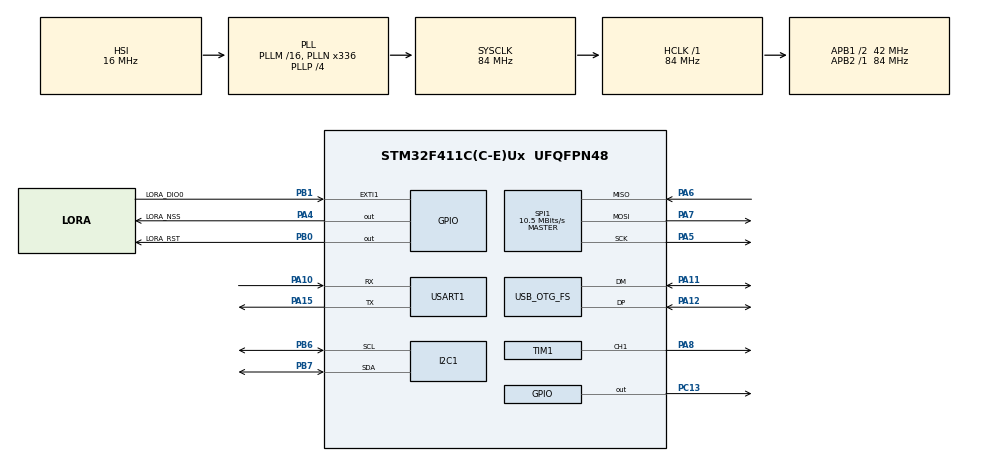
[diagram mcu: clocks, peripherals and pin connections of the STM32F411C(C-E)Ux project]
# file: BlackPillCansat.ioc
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Mcu.Family=STM32F4
Mcu.Name=STM32F411C(C-E)Ux
Mcu.Package=UFQFPN48
NVIC.OTG_FS_IRQn=true\:0\:0\:false\:false\:true\:false\:true\:true
NVIC.PriorityGroup=NVIC_PRIORITYGROUP_4
NVIC.SPI1_IRQn=true\:0\:0\:false\:false\:true\:true\:true\:true
NVIC.USART1_IRQn=true\:0\:0\:false\:false\:true\:true\:true\:true
PA10.Mode=Asynchronous
PA10.Signal=USART1_RX
PA11.Mode=Device_Only
PA11.Signal=USB_OTG_FS_DM
PA12.Mode=Device_Only
PA12.Signal=USB_OTG_FS_DP
PA13.Mode=Serial_Wire
PA13.Signal=SYS_JTMS-SWDIO
PA14.Mode=Serial_Wire
PA14.Signal=SYS_JTCK-SWCLK
PA15.Mode=Asynchronous
PA15.Signal=USART1_TX
PA4.GPIO_Label=LORA_NSS
PA4.Signal=GPIO_Output
PA5.Mode=Full_Duplex_Master
PA5.Signal=SPI1_SCK
PA6.Mode=Full_Duplex_Master
PA6.Signal=SPI1_MISO
PA7.Mode=Full_Duplex_Master
PA7.Signal=SPI1_MOSI
PA8.Signal=S_TIM1_CH1
PB0.GPIO_Label=LORA_RST
PB0.Signal=GPIO_Output
PB1.GPIO_Label=LORA_DIO0
PB1.Signal=GPXTI1
PB6.Mode=I2C
PB6.Signal=I2C1_SCL
PB7.Mode=I2C
PB7.Signal=I2C1_SDA
PC13-ANTI_TAMP.Signal=GPIO_Output
PC14-OSC32_IN.Mode=LSE-External-Oscillator
PC14-OSC32_IN.Signal=RCC_OSC32_IN
PC15-OSC32_OUT.Mode=LSE-External-Oscillator
PC15-OSC32_OUT.Signal=RCC_OSC32_OUT
PH0\ -\ OSC_IN.Mode=HSE-External-Oscillator
PH0\ -\ OSC_IN.Signal=RCC_OSC_IN
PH1\ -\ OSC_OUT.Mode=HSE-External-Oscillator
PH1\ -\ OSC_OUT.Signal=RCC_OSC_OUT
ProjectManager.HeapSize=0x200
ProjectManager.StackSize=0x400
ProjectManager.TargetToolchain=STM32CubeIDE
RCC.48MHZClocksFreq_Value=48000000
RCC.AHBFreq_Value=84000000
RCC.APB1CLKDivider=RCC_HCLK_DIV2
RCC.APB1Freq_Value=42000000
RCC.APB1TimFreq_Value=84000000
RCC.APB2Freq_Value=84000000
RCC.APB2TimFreq_Value=84000000
RCC.CortexFreq_Value=84000000
RCC.HCLKFreq_Value=84000000
RCC.HSE_VALUE=25000000
RCC.HSI_VALUE=16000000
RCC.PLLN=336
RCC.PLLP=RCC_PLLP_DIV4
RCC.PLLQ=7
RCC.PLLSource=RCC_PLLSOURCE_HSI
RCC.PLLSourceVirtualString=RCC_PLLSOURCE_HSI
RCC.SYSCLKFreq_VALUE=84000000
RCC.SYSCLKSource=RCC_SYSCLKSOURCE_PLLCLK
RCC.VCOOutputFreq_Value=336000000
SH.S_TIM1_CH1.0=TIM1_CH1,PWM Generation1 CH1
SPI1.BaudRatePrescaler=SPI_BAUDRATEPRESCALER_8
SPI1.CalculateBaudRate=10.5 MBits/s
SPI1.Direction=SPI_DIRECTION_2LINES
SPI1.Mode=SPI_MODE_MASTER
SPI1.VirtualType=VM_MASTER
TIM1.Channel-PWM\ Generation1\ CH1=TIM_CHANNEL_1
TIM1.Period=19999
TIM1.Prescaler=83
TIM1.Pulse-PWM\ Generation1\ CH1=1000
USART1.VirtualMode=VM_ASYNC
USB_DEVICE.CLASS_NAME_FS=CDC
USB_DEVICE.VirtualMode=Cdc
USB_DEVICE.VirtualModeFS=Cdc_FS
USB_OTG_FS.VirtualMode=Device_Only
VP_TIM1_VS_ClockSourceINT.Mode=Internal
VP_USB_DEVICE_VS_USB_DEVICE_CDC_FS.Mode=CDC_FS
board=custom

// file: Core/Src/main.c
/* USER CODE BEGIN Header */
/**
  ******************************************************************************
  * @file           : main.c
  * @brief          : Main program body
  ******************************************************************************
  * @attention
  *
  * Copyright (c) 2026 STMicroelectronics.
  * All rights reserved.
  *
  * This software is licensed under terms that can be found in the LICENSE file
  * in the root directory of this software component.
  * If no LICENSE file comes with this software, it is provided AS-IS.
  *
  ******************************************************************************
  */
/* USER CODE END Header */
#include "main.h"
#include "usb_device.h"

/* USER CODE BEGIN Includes */
#include "main.h"
#include "usb_device.h"
#include <string.h>
#include <stdint.h>
#define LORA_NSS_PORT GPIOA
#define LORA_NSS_PIN  GPIO_PIN_4

#define LORA_RST_PORT GPIOB
#define LORA_RST_PIN  GPIO_PIN_0

#define LORA_DIO0_PIN GPIO_PIN_1
#define MPU6050_ADD (0x68 << 1)
#define PWR_MGMT_1 0x6B
#define ACCL_START 0x3B
#define CALIB_SAMPLES 2000
#define SAMPLE_DELAY 5
#include "usbd_cdc_if.h"
#include "math.h"
extern uint8_t CDC_Transmit_FS(uint8_t* Buf, uint16_t Len);

#define MS5611_ADDR (0x76 << 1)  // REMOVE << 1 ! Standard MS5611 address
#define MS5611_RESET     0x1E
#define MS5611_ADC_READ  0x00
#define MS5611_CONV_D1   0x48   // Pressure conversion
#define MS5611_CONV_D2   0x58   // Temperature conversion
#define MS5611_PROM_READ 0xA2
#define LED_PORT GPIOC
#define LED_PIN  GPIO_PIN_13
/* USER CODE END Includes */

/* USER CODE BEGIN PTD */
float kalman_alt = 0;
float kalman_vel = 0;
uint8_t armed = 0;
uint8_t released = 0;
uint8_t servo_done = 0;
uint32_t drop_time = 0;

float P[2][2] = {{1,0},{0,1}};   // Error covariance
float Q[2][2] = {{0.15,0},{0,0.15}};
float R = 1.0; // Measurement noise (MS5611 noise)

float dt = 0.02; // 50 Hz loop
uint8_t raw_data[14];
int16_t Ax,Ay,Az;
int16_t Gx,Gy,Gz;
int32_t Ax_offset=0, Ay_offset=0, Az_offset=0;
int32_t Gx_offset=0, Gy_offset=0, Gz_offset=0;
float Ax_g, Ay_g, Az_g;
float Gx_dps, Gy_dps, Gz_dps;
uint16_t C[7];  // Calibration constants
uint32_t D1, D2;
float pressure = 0;
float temperature = 0;
float altitude = 0;
float pressure_baseline = 0;
uint8_t gps_data;
float altitude_offset = 0;
char gps_buffer[120];
int gps_index = 0;
int satellites = 0;
int gps_fix = 0;
float latitude = 0;
float longitude = 0;
uint16_t lora_packet = 0;
float gps_altitude = 0;

/* USER CODE END PV */
/* USER CODE END PTD */

I2C_HandleTypeDef hi2c1;

SPI_HandleTypeDef hspi1;

TIM_HandleTypeDef htim1;

UART_HandleTypeDef huart1;

void SystemClock_Config(void);
static void MX_GPIO_Init(void);
static void MX_I2C1_Init(void);
static void MX_USART1_UART_Init(void);
static void MX_SPI1_Init(void);
static void MX_TIM1_Init(void);
/* USER CODE BEGIN PFP */
/* USER CODE BEGIN PFP */
void usb_print(char *msg);  // forward declaration
/* USER CODE END PFP */

/* USER CODE BEGIN 0 */

extern SPI_HandleTypeDef hspi1;

void lora_select()
{
    HAL_GPIO_WritePin(LORA_NSS_PORT, LORA_NSS_PIN, GPIO_PIN_RESET);
    HAL_Delay(1);
}

void lora_unselect()
{
    HAL_GPIO_WritePin(LORA_NSS_PORT, LORA_NSS_PIN, GPIO_PIN_SET);
    HAL_Delay(1);
}

uint8_t lora_read(uint8_t reg)
{
    uint8_t tx[2];
    uint8_t rx[2];

    tx[0] = reg & 0x7F;
    tx[1] = 0x00;

    lora_select();
    HAL_SPI_TransmitReceive(&hspi1, tx, rx, 2, 100);
    lora_unselect();

    return rx[1];
}

void led_blink(int times, int delay_ms)
{
    for(int i = 0; i < times; i++)
    {
        HAL_GPIO_WritePin(LED_PORT, LED_PIN, GPIO_PIN_RESET); // ON
        HAL_Delay(delay_ms);

        HAL_GPIO_WritePin(LED_PORT, LED_PIN, GPIO_PIN_SET);   // OFF
        HAL_Delay(delay_ms);
    }
    HAL_Delay(500);
}

void error_blink(int code)
{
    while(1)
    {
        led_blink(code, 200);
        HAL_Delay(1000);
    }
}

void lora_write(uint8_t reg, uint8_t data)
{
    uint8_t buf[2];
    buf[0] = reg | 0x80;
    buf[1] = data;

    lora_select();
    HAL_SPI_Transmit(&hspi1, buf, 2, 100);
    lora_unselect();
}

void lora_reset()
{
    HAL_GPIO_WritePin(LORA_RST_PORT, LORA_RST_PIN, GPIO_PIN_RESET);
    HAL_Delay(10);
    HAL_GPIO_WritePin(LORA_RST_PORT, LORA_RST_PIN, GPIO_PIN_SET);
    HAL_Delay(10);
}

void servo_lock(void)
{
    __HAL_TIM_SET_COMPARE(&htim1, TIM_CHANNEL_1, 1500);   // locked position
}

void servo_open(void)
{
    __HAL_TIM_SET_COMPARE(&htim1, TIM_CHANNEL_1, 2000);   // open position
}

void lora_init()
{
    lora_reset();

    // LoRa sleep
    lora_write(0x01, 0x80);
    HAL_Delay(10);

    // LoRa standby
    lora_write(0x01, 0x81);
    HAL_Delay(10);

    // Frequency = 433.000 MHz
    lora_write(0x06, 0x6C);
    lora_write(0x07, 0x80);
    lora_write(0x08, 0x00);

    // PA config: max power
    lora_write(0x09, 0x8F);

    // LNA boost
    lora_write(0x0C, 0x23);

    // FIFO base addresses
    lora_write(0x0E, 0x00);   // TX base
    lora_write(0x0F, 0x00);   // RX base

    // Explicit header, BW=125kHz, CR=4/5
    lora_write(0x1D, 0x72);

    // SF7, CRC ON
    lora_write(0x1E, 0x74);

    // AGC auto on
    lora_write(0x26, 0x04);

    // Preamble length = 8
    lora_write(0x20, 0x00);
    lora_write(0x21, 0x08);

    // Sync word = 0x12 (must match receiver)
    lora_write(0x39, 0x34);

    // DIO0 = TxDone
    lora_write(0x40, 0x40);

    // Clear all IRQ flags
    lora_write(0x12, 0xFF);

    // Standby
    lora_write(0x01, 0x81);
    HAL_Delay(10);
}

void ms5611_init() {
    uint8_t cmd;

    // Reset
    cmd = MS5611_RESET;
    HAL_I2C_Master_Transmit(&hi2c1, MS5611_ADDR, &cmd, 1, 100);
    HAL_Delay(20);

    uint8_t buf[2];
    for (int i = 0; i < 6; i++) {
        cmd = MS5611_PROM_READ + 2*i;   // A2, A4, A6, A8, AA, AC
        HAL_I2C_Master_Transmit(&hi2c1, MS5611_ADDR, &cmd, 1, 100);
        HAL_I2C_Master_Receive(&hi2c1, MS5611_ADDR, buf, 2, 100);
        C[i+1] = (buf[0] << 8) | buf[1];

        char msg[30];
        sprintf(msg, "C%d=%u\r\n", i+1, C[i+1]);
        usb_print(msg);
    }
}

void kalman_update(float measured_alt, float accel_z)
{
    /* ===== Predict ===== */
    kalman_alt += kalman_vel * dt + 0.5f * accel_z * dt * dt;
    kalman_vel += accel_z * dt;

    P[0][0] += dt*(2*P[1][0] + dt*P[1][1]) + Q[0][0];
    P[0][1] += dt*P[1][1];
    P[1][0] += dt*P[1][1];
    P[1][1] += Q[1][1];

    /* ===== Update ===== */
    float y = measured_alt - kalman_alt;
    float S = P[0][0] + R;

    float K0 = P[0][0] / S;
    float K1 = P[1][0] / S;

    kalman_alt += K0 * y;
    kalman_vel += K1 * y;

    float P00 = P[0][0];
    float P01 = P[0][1];

    P[0][0] -= K0 * P00;
    P[0][1] -= K0 * P01;
    P[1][0] -= K1 * P00;
    P[1][1] -= K1 * P01;
}

void ms5611_read()
{
    uint8_t buf[3];
    uint8_t cmd;

    /* --- D1: Pressure --- */
    cmd = MS5611_CONV_D1;
    HAL_I2C_Master_Transmit(&hi2c1, MS5611_ADDR, &cmd, 1, 100);
    HAL_Delay(15);  // increased from 12 to 15ms to be safe

    cmd = MS5611_ADC_READ;
    HAL_I2C_Master_Transmit(&hi2c1, MS5611_ADDR, &cmd, 1, 100);
    memset(buf, 0, 3);
    HAL_I2C_Master_Receive(&hi2c1, MS5611_ADDR, buf, 3, 100);
    uint32_t new_D1 = ((uint32_t)buf[0] << 16) | ((uint32_t)buf[1] << 8) | buf[2];

    /* --- D2: Temperature --- */
    cmd = MS5611_CONV_D2;
    HAL_I2C_Master_Transmit(&hi2c1, MS5611_ADDR, &cmd, 1, 100);
    HAL_Delay(15);

    cmd = MS5611_ADC_READ;
    HAL_I2C_Master_Transmit(&hi2c1, MS5611_ADDR, &cmd, 1, 100);
    memset(buf, 0, 3);
    HAL_I2C_Master_Receive(&hi2c1, MS5611_ADDR, buf, 3, 100);
    uint32_t new_D2 = ((uint32_t)buf[0] << 16) | ((uint32_t)buf[1] << 8) | buf[2];

    /* Reject zero reads (ADC not ready) - keep last valid value */
    if(new_D1 == 0 || new_D2 == 0) return;

    D1 = new_D1;
    D2 = new_D2;

    /* MS5611 compensation */
    int64_t dT   = (int64_t)D2 - ((int64_t)C[5] << 8);
    int64_t TEMP = 2000LL + (dT * (int64_t)C[6]) / (1LL << 23);

    int64_t OFF  = ((int64_t)C[2] << 16) + ((int64_t)C[4] * dT) / (1LL << 7);
    int64_t SENS = ((int64_t)C[1] << 15) + ((int64_t)C[3] * dT) / (1LL << 8);

    /* Second order compensation */
    if(TEMP < 2000)
    {
        int64_t T2    = (dT * dT) / (1LL << 31);
        int64_t diff  = TEMP - 2000LL;
        int64_t OFF2  = 5LL * diff * diff / 2LL;
        int64_t SENS2 = 5LL * diff * diff / 4LL;
        if(TEMP < -1500)
        {
            int64_t diff2  = TEMP + 1500LL;
            OFF2  += 7LL * diff2 * diff2;
            SENS2 += 11LL * diff2 * diff2 / 2LL;
        }
        TEMP -= T2;
        OFF  -= OFF2;
        SENS -= SENS2;
    }

    int64_t P = ((int64_t)D1 * SENS / (1LL << 21) - OFF) / (1LL << 15);

    float new_temp = (float)TEMP / 100.0f;
    float new_pres = (float)P    / 100.0f;

    /* Sanity check before accepting */
    if(new_pres > 300.0f && new_pres < 1100.0f &&
       new_temp > -40.0f && new_temp < 85.0f)
    {
        temperature = new_temp;
        pressure    = new_pres;
    }
    /* else: silently discard, keep last valid reading */
}

void i2c_scan()
{
    char msg[50];

    for(uint8_t addr = 1; addr < 128; addr++)
    {
        if(HAL_I2C_IsDeviceReady(&hi2c1, addr << 1, 1, 10) == HAL_OK)
        {
            sprintf(msg, "I2C Device Found at 0x%X\r\n", addr);
            usb_print(msg);
        }
    }
}
float convert_deg(float raw)
{
    int deg = (int)(raw / 100);
    float min = raw - (deg * 100);
    return deg + (min / 60.0);
}

float get_altitude(float press)
{
    return 44330.0 * (1.0 - pow(press / pressure_baseline, 0.1903));
}

void parse_gps(char *data)
{
    if(strncmp(data, "$GPGGA", 6) != 0 && strncmp(data, "$GNGGA", 6) != 0)
        return;

    char local[128];
    strncpy(local, data, sizeof(local) - 1);
    local[sizeof(local) - 1] = '\0';

    char  *token;
    int    field   = 0;
    float  raw_lat = 0, raw_lon = 0;
    char   lat_dir = 'N', lon_dir = 'E';
    int    fix = 0, sats = 0;
    float  alt = 0;

    token = strtok(local, ",");
    while(token != NULL)
    {
        field++;
        switch(field)
        {
            case 3:  raw_lat = atof(token); break;
            case 4:  lat_dir = token[0];    break;
            case 5:  raw_lon = atof(token); break;
            case 6:  lon_dir = token[0];    break;
            case 7:  fix     = atoi(token); break;
            case 8:  sats    = atoi(token); break;
            case 10: alt     = atof(token); break;
        }
        token = strtok(NULL, ",");
    }

    satellites = sats;
    gps_fix    = fix;
    if(fix > 0)
    {
        gps_altitude = alt;
        latitude     = convert_deg(raw_lat);
        longitude    = convert_deg(raw_lon);
        if(lat_dir == 'S') latitude  = -latitude;
        if(lon_dir == 'W') longitude = -longitude;
    }
}

void wake_mpu(void){
    uint8_t wake = 0x00;
    HAL_I2C_Mem_Write(&hi2c1, MPU6050_ADD, PWR_MGMT_1, 1, &wake, 1, 100);
    HAL_Delay(50);
}

HAL_StatusTypeDef read_raw(void){
    return HAL_I2C_Mem_Read(&hi2c1, MPU6050_ADD, ACCL_START, 1, raw_data, 14, 100);
}

extern USBD_HandleTypeDef hUsbDeviceFS;

void usb_print(char *msg)
{
    if(hUsbDeviceFS.dev_state == USBD_STATE_CONFIGURED)
    {
        CDC_Transmit_FS((uint8_t*)msg, strlen(msg));
    }
}

void lora_debug_registers()
{
    char msg[80];

    uint8_t version = lora_read(0x42);
    sprintf(msg, "LoRa Version: 0x%02X\r\n", version);
    usb_print(msg);

    uint8_t opmode = lora_read(0x01);
    sprintf(msg, "OP Mode: 0x%02X\r\n", opmode);
    usb_print(msg);

    uint8_t frf_msb = lora_read(0x06);
    uint8_t frf_mid = lora_read(0x07);
    uint8_t frf_lsb = lora_read(0x08);
    sprintf(msg, "FRF: %02X %02X %02X\r\n", frf_msb, frf_mid, frf_lsb);
    usb_print(msg);

    uint8_t pa = lora_read(0x09);
    sprintf(msg, "PA Config: 0x%02X\r\n", pa);
    usb_print(msg);

    uint8_t lna = lora_read(0x0C);
    sprintf(msg, "LNA: 0x%02X\r\n", lna);
    usb_print(msg);

    uint8_t modem1 = lora_read(0x1D);
    uint8_t modem2 = lora_read(0x1E);
    uint8_t modem3 = lora_read(0x26);
    sprintf(msg, "Modem1: 0x%02X | Modem2: 0x%02X | Modem3: 0x%02X\r\n", modem1, modem2, modem3);
    usb_print(msg);

    uint8_t sync = lora_read(0x39);
    sprintf(msg, "Sync Word: 0x%02X\r\n", sync);
    usb_print(msg);

    uint8_t dio = lora_read(0x40);
    sprintf(msg, "DIO Mapping1: 0x%02X\r\n", dio);
    usb_print(msg);
}

void calibrate_mpu()
{
    int32_t ax=0, ay=0, az=0;
    int32_t gx=0, gy=0, gz=0;
    int count = 0;

    for(int i=0;i<CALIB_SAMPLES;i++)
    {
        if(read_raw() == HAL_OK)
        {
            ax += (raw_data[0] << 8) | raw_data[1];
            ay += (raw_data[2] << 8) | raw_data[3];
            az += (raw_data[4] << 8) | raw_data[5];

            gx += (raw_data[8] << 8) | raw_data[9];
            gy += (raw_data[10] << 8) | raw_data[11];
            gz += (raw_data[12] << 8) | raw_data[13];

            count++;
        }
        HAL_Delay(SAMPLE_DELAY);
    }

    if(count == 0)
    {
        usb_print("Calibration Failed!\r\n");
        return;
    }

    Ax_offset = ax/count;
    Ay_offset = ay/count;
    Az_offset = az/count - 8192;

    Gx_offset = gx/count;
    Gy_offset = gy/count;
    Gz_offset = gz/count;
}

void lora_send(uint8_t *data, uint8_t len)
{
    char dbg[64];

    sprintf(dbg, "LoRa TX %d bytes\r\n", len);
    usb_print(dbg);
    HAL_GPIO_WritePin(LED_PORT, LED_PIN, GPIO_PIN_RESET);
    // Go standby before writing FIFO
    lora_write(0x01, 0x81);

    // Clear all previous IRQ flags
    lora_write(0x12, 0xFF);

    // Reset FIFO base + ptr
    lora_write(0x0E, 0x00);   // TX base
    lora_write(0x0D, 0x00);   // FIFO addr ptr

    // Write payload
    for(uint8_t i = 0; i < len; i++)
    {
        lora_write(0x00, data[i]);
    }

    // Payload length
    lora_write(0x22, len);

    // Start TX
    lora_write(0x01, 0x83);

    // Wait for TxDone
    while((lora_read(0x12) & 0x08) == 0)
    {
    }
    HAL_GPIO_WritePin(LED_PORT, LED_PIN, GPIO_PIN_SET);
    HAL_Delay(50);
    usb_print("LoRa TX Done\r\n");

    // Clear TxDone
    lora_write(0x12, 0x08);

    // Back to standby
    lora_write(0x01, 0x81);
}
/* USER CODE END 0 */

int main(void)
{

  /* MCU Configuration--------------------------------------------------------*/

  /* Reset of all peripherals, Initializes the Flash interface and the Systick. */
  HAL_Init();

  /* Configure the system clock */
  SystemClock_Config();

  /* Initialize all configured peripherals */
  MX_GPIO_Init();
  MX_I2C1_Init();
  MX_USB_DEVICE_Init();
  MX_USART1_UART_Init();
  MX_SPI1_Init();
  MX_TIM1_Init();
  /* USER CODE BEGIN 2 */

  HAL_TIM_PWM_Start(&htim1, TIM_CHANNEL_1);
  servo_lock();
  HAL_Delay(1000);
  wake_mpu();
  wake_mpu();

  /* ===== GYRO RANGE ±250 DPS ===== */
  uint8_t gyro_config = 0x00;
  HAL_I2C_Mem_Write(&hi2c1, MPU6050_ADD, 0x1B, 1,
                    &gyro_config, 1, 100);

  /* ===== ACCEL RANGE ±4G ===== */
  uint8_t accel_config = 0x08;
  HAL_I2C_Mem_Write(&hi2c1, MPU6050_ADD, 0x1C, 1,
                    &accel_config, 1, 100);

  /* ===== MPU6050 HARDWARE LPF ===== */
  /* 0x03 = ~44Hz */
  uint8_t dlpf = 0x03;
  HAL_I2C_Mem_Write(&hi2c1, MPU6050_ADD, 0x1A, 1,
                    &dlpf, 1, 100);

  HAL_Delay(100);
  usb_print("Keep MPU6050 completely still!\r\n");

  usb_print("Calibrating now...\r\n");
  calibrate_mpu();

  usb_print("Calibration Done!\r\n");

  i2c_scan();
  HAL_Delay(500);

  HAL_I2C_DeInit(&hi2c1);
  HAL_Delay(10);
  MX_I2C1_Init();
  HAL_Delay(100);

  ms5611_init();
  HAL_Delay(200);

  uint8_t version = lora_read(0x42);
  char msg2[50];
  sprintf(msg2, "LoRa Version: 0x%X\r\n", version);
  usb_print(msg2);

  lora_init();

  HAL_Delay(100);
  usb_print("LoRa Initialized\r\n");
  lora_debug_registers();

  usb_print("Ground calibration - keep still...\r\n");
  float sum_p = 0;
  int count = 0;

  for(int i = 0; i < 200; i++)
  {
      ms5611_read();

      if(pressure > 300.0f && pressure < 1100.0f)
      {
          sum_p += pressure;
          count++;
      }

      HAL_Delay(20);
  }

  pressure_baseline = (count > 10) ? (sum_p / count) : 1013.25f;
  altitude_offset = 0.0f;

  char msg[80];
  sprintf(msg, "BASELINE: %.2f hPa (%d samples)\r\n", pressure_baseline, count);
  usb_print(msg);

  HAL_UART_Receive_IT(&huart1, &gps_data, 1);
  /* USER CODE END 2 */

  /* Infinite loop */
  /* USER CODE BEGIN WHILE */
  while (1)
  {
  // Check MPU connection

        if(HAL_I2C_IsDeviceReady(&hi2c1, MPU6050_ADD, 3, 100) != HAL_OK)
        {
            usb_print("MPU NOT FOUND\r\n");
            HAL_Delay(1000);
            continue;
        }

        /* ================= MPU6050 ================= */
        if(read_raw() == HAL_OK)
        {
            /* ===== OFFSET COMPENSATION ===== */
            Ax = ((int16_t)(raw_data[0] << 8 | raw_data[1])) - Ax_offset;
            Ay = ((int16_t)(raw_data[2] << 8 | raw_data[3])) - Ay_offset;
            Az = ((int16_t)(raw_data[4] << 8 | raw_data[5])) - Az_offset;

            Gx = ((int16_t)(raw_data[8] << 8 | raw_data[9])) - Gx_offset;
            Gy = ((int16_t)(raw_data[10] << 8 | raw_data[11])) - Gy_offset;
            Gz = ((int16_t)(raw_data[12] << 8 | raw_data[13])) - Gz_offset;

            /* ===== CONVERT TO REAL UNITS ===== */
            Ax_g = Ax / 8192.0f;
            Ay_g = Ay / 8192.0f;
            Az_g = Az / 8192.0f;

            Gx_dps = Gx / 131.0f;
            Gy_dps = Gy / 131.0f;
            Gz_dps = Gz / 131.0f;

            /* ===== SOFTWARE LOW PASS FILTER ===== */
            static float gx_f = 0;
            static float gy_f = 0;
            static float gz_f = 0;

            gx_f = gx_f * 0.90f + Gx_dps * 0.10f;
            gy_f = gy_f * 0.90f + Gy_dps * 0.10f;
            gz_f = gz_f * 0.90f + Gz_dps * 0.10f;

            Gx_dps = gx_f;
            Gy_dps = gy_f;
            Gz_dps = gz_f;
        }
        else
        {
            usb_print("MPU READ ERROR\r\n");
            HAL_Delay(200);
            continue;
        }

        ms5611_read();
        if(pressure > 300.0f && pressure < 1100.0f && pressure_baseline > 300.0f)
        {
        float new_alt = 44330.0f *
        (1.0f - powf(pressure / pressure_baseline, 0.1903f));

        /* ===== REMOVE TINY BARO DRIFT ===== */
        if(fabs(new_alt) < 0.30f)
        {
            new_alt = 0;
        }

        /* ===== SMOOTH ALTITUDE ===== */
        if(!isnan(new_alt) && !isinf(new_alt))
        {
            altitude = altitude * 0.95f + new_alt * 0.05f;
        }
        }

        float accel_z = (Az_g * 9.81f) - 9.81f;

        /* ===== REMOVE SMALL NOISE ===== */
        if(fabs(accel_z) < 0.08f)
        {
            accel_z = 0;
        }

        /* ===== KALMAN UPDATE ===== */
        kalman_update(altitude, accel_z);

        /* ===== STOP VELOCITY DRIFT ===== */
        if(fabs(kalman_vel) < 0.03f)
        {
            kalman_vel = 0;
        }

        if(!released)
        {
            if(Az_g <= 0)
            {
                released = 1;
                drop_time = HAL_GetTick();
                usb_print("TRIGGERED\r\n");
            }
        }

        // ===== SERVO OPEN =====
        if(released && !servo_done)
        {
            servo_open();
            servo_done = 1;
            usb_print("SERVO OPEN\r\n");
        }

        char msg[220];
        sprintf(msg,
        "AX:%.2f AY:%.2f AZ:%.2f | "
        "GX:%.2f GY:%.2f GZ:%.2f | "
        "P:%.2f mbar | T:%.2f C | ALT:%.2f m | "
        "LAT:%.5f LON:%.5f | GPS_ALT:%.2f | SAT:%d|VEL:%.2f\r\n",

        Ax_g, Ay_g, Az_g,
        Gx_dps, Gy_dps, Gz_dps,
        pressure, temperature, kalman_alt,
        latitude, longitude,
        gps_altitude,
        satellites, kalman_vel);

        usb_print(msg);

        uint8_t packet[32];
        uint8_t i = 0;

        uint16_t pkt = lora_packet++;

        int16_t alt  = (int16_t)(kalman_alt * 100);
        int16_t vel  = (int16_t)(kalman_vel * 100);
        uint16_t pres = (uint16_t)(pressure * 10);
        int16_t temp = (int16_t)(temperature * 100);

        int16_t gx = (int16_t)(Gx_dps * 10);
        int16_t gy = (int16_t)(Gy_dps * 10);
        int16_t gz = (int16_t)(Gz_dps * 10);
        int16_t ax = (int16_t)(Ax_g * 100);
        int16_t ay = (int16_t)(Ay_g * 100);
        int16_t az = (int16_t)(Az_g * 100);

        int32_t lat = (int32_t)(latitude * 10000);
        int32_t lon = (int32_t)(longitude * 10000);

        /* Copy into packet */
        memcpy(&packet[i], &pkt, 2); i += 2;
        memcpy(&packet[i], &alt, 2); i += 2;
        memcpy(&packet[i], &vel, 2); i += 2;
        memcpy(&packet[i], &pres, 2); i += 2;
        memcpy(&packet[i], &temp, 2); i += 2;

        packet[i++] = satellites;
        packet[i++] = gps_fix;

        /* Gyroscope */
        memcpy(&packet[i], &gx, 2); i += 2;
        memcpy(&packet[i], &gy, 2); i += 2;
        memcpy(&packet[i], &gz, 2); i += 2;

        /* Acceleration */
        memcpy(&packet[i], &ax, 2); i += 2;
        memcpy(&packet[i], &ay, 2); i += 2;
        memcpy(&packet[i], &az, 2); i += 2;

        /* GPS */
        memcpy(&packet[i], &lat, 4); i += 4;
        memcpy(&packet[i], &lon, 4); i += 4;

        /* Send */
        lora_send(packet, i);
        HAL_Delay(200);
    /* USER CODE END WHILE */

  }
}

void SystemClock_Config(void)
{
  RCC_OscInitTypeDef RCC_OscInitStruct = {0};
  RCC_ClkInitTypeDef RCC_ClkInitStruct = {0};

  /** Configure the main internal regulator output voltage
  */
  __HAL_RCC_PWR_CLK_ENABLE();
  __HAL_PWR_VOLTAGESCALING_CONFIG(PWR_REGULATOR_VOLTAGE_SCALE1);

  /** Initializes the RCC Oscillators according to the specified parameters
  * in the RCC_OscInitTypeDef structure.
  */
  RCC_OscInitStruct.OscillatorType = RCC_OSCILLATORTYPE_HSI;
  RCC_OscInitStruct.HSIState = RCC_HSI_ON;
  RCC_OscInitStruct.HSICalibrationValue = RCC_HSICALIBRATION_DEFAULT;
  RCC_OscInitStruct.PLL.PLLState = RCC_PLL_ON;
  RCC_OscInitStruct.PLL.PLLSource = RCC_PLLSOURCE_HSI;
  RCC_OscInitStruct.PLL.PLLM = 16;
  RCC_OscInitStruct.PLL.PLLN = 336;
  RCC_OscInitStruct.PLL.PLLP = RCC_PLLP_DIV4;
  RCC_OscInitStruct.PLL.PLLQ = 7;
  if (HAL_RCC_OscConfig(&RCC_OscInitStruct) != HAL_OK)
  {
    Error_Handler();
  }

  /** Initializes the CPU, AHB and APB buses clocks
  */
  RCC_ClkInitStruct.ClockType = RCC_CLOCKTYPE_HCLK|RCC_CLOCKTYPE_SYSCLK
                              |RCC_CLOCKTYPE_PCLK1|RCC_CLOCKTYPE_PCLK2;
  RCC_ClkInitStruct.SYSCLKSource = RCC_SYSCLKSOURCE_PLLCLK;
  RCC_ClkInitStruct.AHBCLKDivider = RCC_SYSCLK_DIV1;
  RCC_ClkInitStruct.APB1CLKDivider = RCC_HCLK_DIV2;
  RCC_ClkInitStruct.APB2CLKDivider = RCC_HCLK_DIV1;

  if (HAL_RCC_ClockConfig(&RCC_ClkInitStruct, FLASH_LATENCY_2) != HAL_OK)
  {
    Error_Handler();
  }
}

static void MX_I2C1_Init(void)
{

  hi2c1.Instance = I2C1;
  hi2c1.Init.ClockSpeed = 100000;
  hi2c1.Init.DutyCycle = I2C_DUTYCYCLE_2;
  hi2c1.Init.OwnAddress1 = 0;
  hi2c1.Init.AddressingMode = I2C_ADDRESSINGMODE_7BIT;
  hi2c1.Init.DualAddressMode = I2C_DUALADDRESS_DISABLE;
  hi2c1.Init.OwnAddress2 = 0;
  hi2c1.Init.GeneralCallMode = I2C_GENERALCALL_DISABLE;
  hi2c1.Init.NoStretchMode = I2C_NOSTRETCH_DISABLE;
  if (HAL_I2C_Init(&hi2c1) != HAL_OK)
  {
    Error_Handler();
  }

}

static void MX_SPI1_Init(void)
{

  /* SPI1 parameter configuration*/
  hspi1.Instance = SPI1;
  hspi1.Init.Mode = SPI_MODE_MASTER;
  hspi1.Init.Direction = SPI_DIRECTION_2LINES;
  hspi1.Init.DataSize = SPI_DATASIZE_8BIT;
  hspi1.Init.CLKPolarity = SPI_POLARITY_LOW;
  hspi1.Init.CLKPhase = SPI_PHASE_1EDGE;
  hspi1.Init.NSS = SPI_NSS_SOFT;
  hspi1.Init.BaudRatePrescaler = SPI_BAUDRATEPRESCALER_8;
  hspi1.Init.FirstBit = SPI_FIRSTBIT_MSB;
  hspi1.Init.TIMode = SPI_TIMODE_DISABLE;
  hspi1.Init.CRCCalculation = SPI_CRCCALCULATION_DISABLE;
  hspi1.Init.CRCPolynomial = 10;
  if (HAL_SPI_Init(&hspi1) != HAL_OK)
  {
    Error_Handler();
  }

}

static void MX_TIM1_Init(void)
{

  TIM_ClockConfigTypeDef sClockSourceConfig = {0};
  TIM_MasterConfigTypeDef sMasterConfig = {0};
  TIM_OC_InitTypeDef sConfigOC = {0};
  TIM_BreakDeadTimeConfigTypeDef sBreakDeadTimeConfig = {0};

  htim1.Instance = TIM1;
  htim1.Init.Prescaler = 83;
  htim1.Init.CounterMode = TIM_COUNTERMODE_UP;
  htim1.Init.Period = 19999;
  htim1.Init.ClockDivision = TIM_CLOCKDIVISION_DIV1;
  htim1.Init.RepetitionCounter = 0;
  htim1.Init.AutoReloadPreload = TIM_AUTORELOAD_PRELOAD_DISABLE;
  if (HAL_TIM_Base_Init(&htim1) != HAL_OK)
  {
    Error_Handler();
  }
  sClockSourceConfig.ClockSource = TIM_CLOCKSOURCE_INTERNAL;
  if (HAL_TIM_ConfigClockSource(&htim1, &sClockSourceConfig) != HAL_OK)
  {
    Error_Handler();
  }
  if (HAL_TIM_PWM_Init(&htim1) != HAL_OK)
  {
    Error_Handler();
  }
  sMasterConfig.MasterOutputTrigger = TIM_TRGO_RESET;
  sMasterConfig.MasterSlaveMode = TIM_MASTERSLAVEMODE_DISABLE;
  if (HAL_TIMEx_MasterConfigSynchronization(&htim1, &sMasterConfig) != HAL_OK)
  {
    Error_Handler();
  }
  sConfigOC.OCMode = TIM_OCMODE_PWM1;
  sConfigOC.Pulse = 1000;
  sConfigOC.OCPolarity = TIM_OCPOLARITY_HIGH;
  sConfigOC.OCNPolarity = TIM_OCNPOLARITY_HIGH;
  sConfigOC.OCFastMode = TIM_OCFAST_DISABLE;
  sConfigOC.OCIdleState = TIM_OCIDLESTATE_RESET;
  sConfigOC.OCNIdleState = TIM_OCNIDLESTATE_RESET;
  if (HAL_TIM_PWM_ConfigChannel(&htim1, &sConfigOC, TIM_CHANNEL_1) != HAL_OK)
  {
    Error_Handler();
  }
  sBreakDeadTimeConfig.OffStateRunMode = TIM_OSSR_DISABLE;
  sBreakDeadTimeConfig.OffStateIDLEMode = TIM_OSSI_DISABLE;
  sBreakDeadTimeConfig.LockLevel = TIM_LOCKLEVEL_OFF;
  sBreakDeadTimeConfig.DeadTime = 0;
  sBreakDeadTimeConfig.BreakState = TIM_BREAK_DISABLE;
  sBreakDeadTimeConfig.BreakPolarity = TIM_BREAKPOLARITY_HIGH;
  sBreakDeadTimeConfig.AutomaticOutput = TIM_AUTOMATICOUTPUT_DISABLE;
  if (HAL_TIMEx_ConfigBreakDeadTime(&htim1, &sBreakDeadTimeConfig) != HAL_OK)
  {
    Error_Handler();
  }
  HAL_TIM_MspPostInit(&htim1);

}

static void MX_USART1_UART_Init(void)
{

  huart1.Instance = USART1;
  huart1.Init.BaudRate = 115200;
  huart1.Init.WordLength = UART_WORDLENGTH_8B;
  huart1.Init.StopBits = UART_STOPBITS_1;
  huart1.Init.Parity = UART_PARITY_NONE;
  huart1.Init.Mode = UART_MODE_TX_RX;
  huart1.Init.HwFlowCtl = UART_HWCONTROL_NONE;
  huart1.Init.OverSampling = UART_OVERSAMPLING_16;
  if (HAL_UART_Init(&huart1) != HAL_OK)
  {
    Error_Handler();
  }

}

static void MX_GPIO_Init(void)
{
  GPIO_InitTypeDef GPIO_InitStruct = {0};

  /* GPIO Ports Clock Enable */
  __HAL_RCC_GPIOC_CLK_ENABLE();
  __HAL_RCC_GPIOH_CLK_ENABLE();
  __HAL_RCC_GPIOA_CLK_ENABLE();
  __HAL_RCC_GPIOB_CLK_ENABLE();

  /*Configure GPIO pin Output Level */
  HAL_GPIO_WritePin(GPIOC, GPIO_PIN_13, GPIO_PIN_RESET);

  /*Configure GPIO pin Output Level */
  HAL_GPIO_WritePin(LORA_NSS_GPIO_Port, LORA_NSS_Pin, GPIO_PIN_RESET);

  /*Configure GPIO pin Output Level */
  HAL_GPIO_WritePin(LORA_RST_GPIO_Port, LORA_RST_Pin, GPIO_PIN_RESET);

  /*Configure GPIO pin : PC13 */
  GPIO_InitStruct.Pin = GPIO_PIN_13;
  GPIO_InitStruct.Mode = GPIO_MODE_OUTPUT_PP;
  GPIO_InitStruct.Pull = GPIO_NOPULL;
  GPIO_InitStruct.Speed = GPIO_SPEED_FREQ_LOW;
  HAL_GPIO_Init(GPIOC, &GPIO_InitStruct);

  /*Configure GPIO pin : LORA_NSS_Pin */
  GPIO_InitStruct.Pin = LORA_NSS_Pin;
  GPIO_InitStruct.Mode = GPIO_MODE_OUTPUT_PP;
  GPIO_InitStruct.Pull = GPIO_NOPULL;
  GPIO_InitStruct.Speed = GPIO_SPEED_FREQ_LOW;
  HAL_GPIO_Init(LORA_NSS_GPIO_Port, &GPIO_InitStruct);

  /*Configure GPIO pin : LORA_RST_Pin */
  GPIO_InitStruct.Pin = LORA_RST_Pin;
  GPIO_InitStruct.Mode = GPIO_MODE_OUTPUT_PP;
  GPIO_InitStruct.Pull = GPIO_NOPULL;
  GPIO_InitStruct.Speed = GPIO_SPEED_FREQ_LOW;
  HAL_GPIO_Init(LORA_RST_GPIO_Port, &GPIO_InitStruct);

  /*Configure GPIO pin : LORA_DIO0_Pin */
  GPIO_InitStruct.Pin = LORA_DIO0_Pin;
  GPIO_InitStruct.Mode = GPIO_MODE_IT_RISING;
  GPIO_InitStruct.Pull = GPIO_NOPULL;
  HAL_GPIO_Init(LORA_DIO0_GPIO_Port, &GPIO_InitStruct);

}

/* USER CODE BEGIN 4 */
void HAL_UART_RxCpltCallback(UART_HandleTypeDef *huart)
{
    if(huart->Instance == USART1)
    {
        if(gps_data != '\n' && gps_index < 119)
        {
            gps_buffer[gps_index++] = gps_data;
        }
        else
        {
            gps_buffer[gps_index] = '\0';
            gps_index = 0;

            parse_gps(gps_buffer);   // 🔥 process sentence
        }

        HAL_UART_Receive_IT(&huart1, &gps_data, 1);
    }
}
/* USER CODE END 4 */

void Error_Handler(void)
{
  __disable_irq();
  while (1)
  {
  }
}
